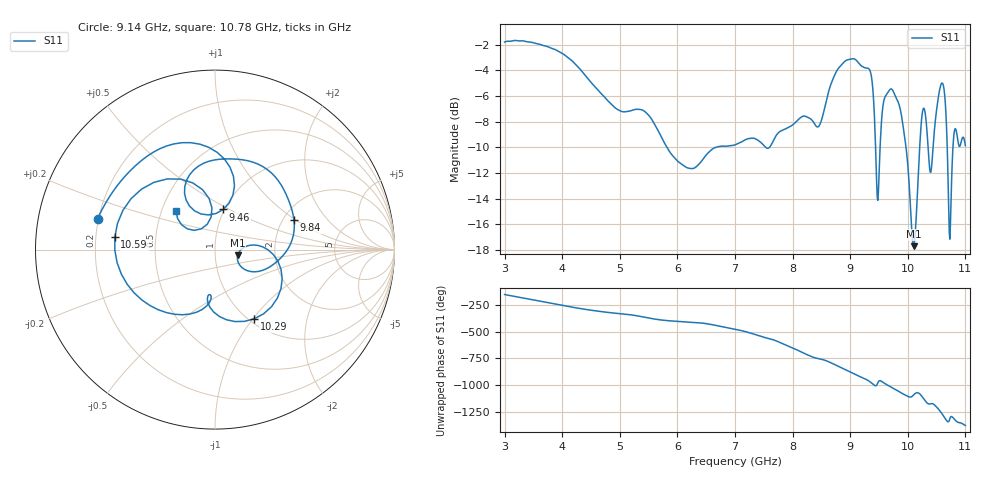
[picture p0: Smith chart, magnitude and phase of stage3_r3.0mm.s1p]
# GHz S DB R 50
! openEMS Stage 3 Simulation: r3.0mm
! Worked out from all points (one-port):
!   801 points, 3 GHz to 11 GHz, reference 50 ohm
!   lowest |S11| = -17.7 dB at 10.1 GHz (marker M1), VSWR 1.30, Z = 64.3 - j4.06 ohm
!   |S11| at or under -10 dB: 5.819 GHz to 6.669 GHz (850.7 MHz wide, 13.6 % of centre); 9.969 GHz to 10.21 GHz (238.1 MHz wide, 2.36 % of centre); 10.68 GHz to 10.78 GHz (99.97 MHz wide, 0.931 % of centre)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
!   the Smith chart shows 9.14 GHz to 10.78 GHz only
!   S11 on the Smith chart (normalised r, x): 9.14 GHz: 0.20, +0.12; 9.46 GHz: 0.99, +0.46; 9.84 GHz: 2.29, +0.96; 10.29 GHz: 1.06, -1.02; 10.59 GHz: 0.28, +0.06; 10.78 GHz: 0.59, +0.28
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3  -1.81 -151.6
3.45  -1.80 162.2
4  -2.69 107.3
4.45  -4.66 65.2
5  -7.15 29.0
6  -11.06 -43.5
7  -9.81 -116.6
7.65  -9.63 146.7
8  -8.26 67.0
8.23  -7.60 9.4
8.58  -6.48 -51.9
8.79  -3.88 -104.2
9  -3.14 -158.3
9.14  -3.40 165.3
9.34  -3.99 111.2
9.46  -12.84 78.5
9.54  -8.20 115.6
9.66  -5.69 75.8
9.84  -6.56 20.4
10  -11.39 -26.9
10.1  -17.70 -13.8
10.29  -7.06 -60.4
10.4  -11.94 -95.8
10.5  -7.08 -127.5
10.59  -5.00 172.7
10.69  -10.84 96.6
10.78  -10.33 135.6
11  -9.88 59.9
